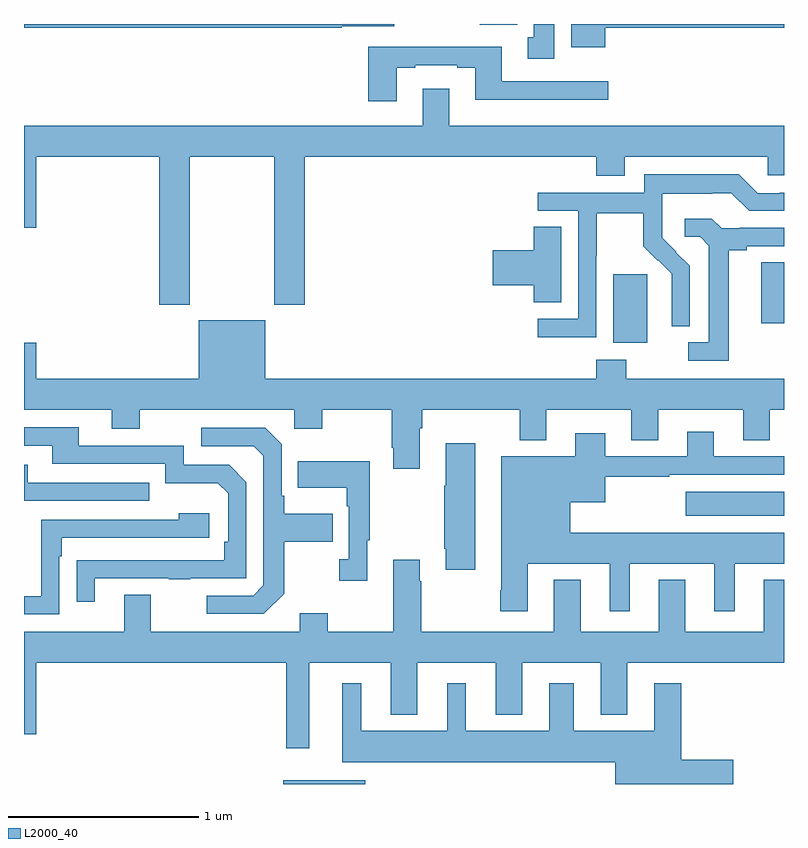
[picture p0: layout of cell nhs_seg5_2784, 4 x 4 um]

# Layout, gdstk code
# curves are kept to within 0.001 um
import gdstk
lib = gdstk.Library(unit=1e-6, precision=1e-09)
def R(c, l, rs):  # rectangles x0, y0, x1, y1
    for r in rs: c.add(gdstk.rectangle(r[:2], r[2:], *l))
def P(c, l, *ps):  # polygons
    for p in ps: c.add(gdstk.Polygon(p, *l))
L2000_40 = (2000, 40)

nhs_seg5_2784 = lib.new_cell('nhs_seg5_2784')
R(nhs_seg5_2784, L2000_40, [(274.364,846.799,274.795,846.82), (276.483,848.21,277,848.338), (276.101,849.122,276.28,849.483), (276.881,849.225,277,849.545), (275.399,850.796,275.596,850.799)])
P(nhs_seg5_2784, L2000_40, [(274.672,850.787),(274.948,850.787),(274.948,850.799),(273,850.799),(273,850.78),(274.672,850.78)],
  [(276.058,850.78),(277,850.78),(277,850.799),(275.879,850.799),(275.879,850.676),(276.058,850.676)],
  [(275.791,850.799),(275.684,850.799),(275.684,850.73),(275.651,850.73),(275.651,850.617),(275.791,850.617)],
  [(274.963,850.569),(275.059,850.569),(275.059,850.581),(275.279,850.581),(275.279,850.569),(275.375,850.569),(275.375,850.4),(276.076,850.4),(276.076,850.497),(275.515,850.497),(275.515,850.678),(274.811,850.678),(274.811,850.392),(274.963,850.392)],
  [(273.873,850.1),(274.318,850.1),(274.318,849.321),(274.478,849.321),(274.478,850.1),(276.011,850.1),(276.011,850.001),(276.163,850.001),(276.163,850.1),(276.915,850.1),(276.915,850.002),(277,850.002),(277,850.264),(275.239,850.264),(275.239,850.459),(275.099,850.459),(275.099,850.264),(273,850.264),(273,849.726),(273.064,849.726),(273.064,850.1),(273.713,850.1),(273.713,849.321),(273.873,849.321)],
  [(276.012,849.58),(276.015,849.58),(276.015,849.804),(276.259,849.804),(276.259,849.629),(276.336,849.552),(276.339,849.555),(276.41,849.485),(276.41,849.362),(276.408,849.362),(276.408,849.208),(276.504,849.208),(276.504,849.526),(276.358,849.674),(276.358,849.771),(276.36,849.771),(276.36,849.905),(276.623,849.905),(276.623,849.909),(276.723,849.909),(276.816,849.816),(277,849.816),(277,849.912),(276.977,849.912),(276.977,849.909),(276.861,849.909),(276.761,850.009),(276.264,850.009),(276.264,849.912),(275.703,849.912),(275.703,849.816),(275.916,849.816),(275.916,849.249),(275.703,849.249),(275.703,849.151),(276.012,849.151)],
  [(276.709,849.608),(276.805,849.608),(276.805,849.63),(277,849.63),(277,849.726),(276.766,849.726),(276.766,849.723),(276.672,849.723),(276.62,849.775),(276.477,849.775),(276.477,849.678),(276.558,849.678),(276.605,849.631),(276.605,849.123),(276.495,849.123),(276.495,849.027),(276.709,849.027)],
  [(275.827,849.731),(275.684,849.731),(275.684,849.608),(275.466,849.608),(275.466,849.425),(275.684,849.425),(275.684,849.334),(275.827,849.334)],
  [(275.083,848.672),(275.096,848.672),(275.096,848.768),(275.609,848.768),(275.609,848.609),(275.749,848.609),(275.749,848.768),(276.197,848.768),(276.197,848.608),(276.337,848.608),(276.337,848.768),(276.785,848.768),(276.785,848.608),(276.925,848.608),(276.925,848.768),(277,848.768),(277,848.932),(276.171,848.932),(276.171,849.031),(276.011,849.031),(276.011,848.932),(274.27,848.932),(274.27,849.241),(273.92,849.241),(273.92,848.932),(273.064,848.932),(273.064,849.121),(273,849.121),(273,848.768),(273.461,848.768),(273.461,848.669),(273.609,848.669),(273.609,848.768),(274.422,848.768),(274.422,848.669),(274.569,848.669),(274.569,848.768),(274.936,848.768),(274.936,848.569),(274.943,848.569),(274.943,848.457),(275.083,848.457)],
  [(273.373,847.881),(273.763,847.881),(273.763,847.876),(273.875,847.876),(273.875,847.881),(274.17,847.881),(274.17,848.388),(274.08,848.478),(273.84,848.478),(273.84,848.58),(273.289,848.58),(273.289,848.676),(273,848.676),(273,848.58),(273.149,848.58),(273.149,848.484),(273.744,848.484),(273.744,848.381),(274.021,848.381),(274.074,848.328),(274.074,848.074),(274.054,848.074),(274.054,847.977),(273.277,847.976),(273.277,847.758),(273.373,847.758)],
  [(274.369,847.801),(274.369,848.074),(274.625,848.074),(274.625,848.221),(274.369,848.221),(274.369,848.317),(274.356,848.317),(274.356,848.586),(274.269,848.673),(273.933,848.673),(273.933,848.577),(274.209,848.577),(274.26,848.526),(274.26,847.845),(274.206,847.791),(273.963,847.791),(273.963,847.695),(274.263,847.695)],
  [(275.65,847.958),(276.083,847.958),(276.083,847.707),(276.187,847.707),(276.187,847.958),(276.632,847.958),(276.632,847.707),(276.742,847.707),(276.742,847.958),(277,847.958),(277,848.122),(275.875,848.122),(275.875,848.282),(276.058,848.282),(276.058,848.415),(276.395,848.415),(276.395,848.427),(277,848.427),(277,848.523),(276.631,848.523),(276.631,848.653),(276.491,848.653),(276.491,848.523),(276.058,848.523),(276.058,848.644),(275.9,848.644),(275.9,848.524),(275.513,848.524),(275.513,847.819),(275.506,847.819),(275.506,847.707),(275.65,847.707)],
  [(275.374,848.593),(275.219,848.593),(275.219,848.369),(275.212,848.369),(275.212,848.038),(275.219,848.038),(275.219,847.926),(275.374,847.926)],
  [(274.807,848.081),(274.819,848.081),(274.819,848.497),(274.441,848.497),(274.441,848.357),(274.698,848.357),(274.698,848.261),(274.71,848.261),(274.71,847.982),(274.659,847.982),(274.659,847.869),(274.807,847.869)],
  [(273.659,848.385),(273.019,848.385),(273.019,848.479),(273,848.479),(273,848.289),(273.659,848.289)],
  [(273.186,847.997),(273.199,847.997),(273.199,848.094),(273.976,848.094),(273.976,848.224),(273.815,848.224),(273.815,848.19),(273.09,848.19),(273.09,847.788),(273,847.788),(273,847.692),(273.186,847.692)],
  [(274.501,847.436),(274.931,847.436),(274.931,847.163),(275.071,847.163),(275.071,847.436),(275.483,847.436),(275.483,847.163),(275.623,847.163),(275.623,847.436),(276.035,847.436),(276.035,847.163),(276.175,847.163),(276.175,847.436),(277,847.436),(277,847.873),(276.893,847.873),(276.893,847.6),(276.481,847.6),(276.481,847.873),(276.341,847.873),(276.341,847.6),(275.929,847.6),(275.929,847.873),(275.789,847.873),(275.789,847.6),(275.091,847.6),(275.091,847.865),(275.083,847.865),(275.083,847.978),(274.943,847.978),(274.943,847.6),(274.599,847.6),(274.599,847.699),(274.451,847.699),(274.451,847.6),(273.667,847.6),(273.667,847.795),(273.527,847.795),(273.527,847.6),(273,847.6),(273,847.062),(273.064,847.062),(273.064,847.436),(274.38,847.436),(274.38,846.987),(274.501,846.987)],
  [(276.733,846.926),(276.458,846.926),(276.458,847.33),(276.317,847.33),(276.317,847.078),(275.893,847.078),(275.893,847.33),(275.765,847.33),(275.765,847.078),(275.326,847.078),(275.326,847.33),(275.228,847.33),(275.228,847.078),(274.774,847.078),(274.774,847.33),(274.676,847.33),(274.676,846.914),(276.113,846.914),(276.113,846.799),(276.733,846.799)])

lib.write_gds('nhs_seg5_2784.gds')
